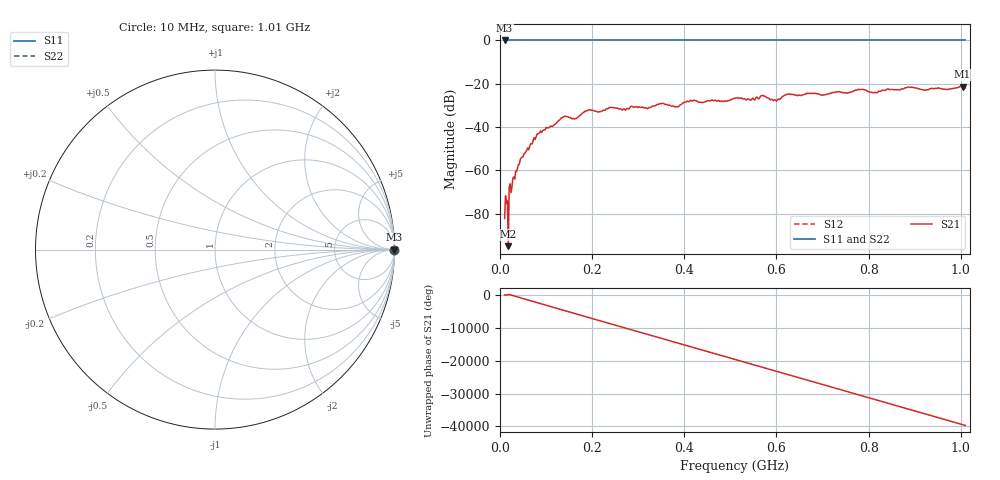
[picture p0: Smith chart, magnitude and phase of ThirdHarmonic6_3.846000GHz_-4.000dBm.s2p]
! 8/17/2025 1:24:24 PM
! C:\ANRITSUVNA\TEMP\TEMP.S2P
! CHANNEL.1
! TR.MEASUREMENT
! RAW.DATA
! RF.CORRECTION.OFF
! AVERAGING.OFF
! IF.BANDWIDTH: 5KHZ
! SWEEPTYPE:  FREQ.SWEEP(Linear)
! Reference Plane Port Info
! PORT:  PORT1  PORT2
! DISTANCE:  0  m  0  m
! TIME:  0  s  0  s
! PHASE.OFFSET:  0  deg.  0  deg.
! LOSS:  0  dB  0  dB
! REF.LOSS:  0  dB  0  dB
! REF.FREQ:  0  Hz  0  Hz
! Power Info
! POWER:  -20  dBm  -20  dBm
! EFF.POWER:  -20  dBm  -20  dBm
! SOURCE.ATTEN:  0  dB  0  dB
! TEST.ATTEN:  0  dB  0  dB
# GHZ S RI R 50.0
! FREQ.GHZ  S11RE  S11IM  S21RE  S21IM  S12RE  S12IM  S22RE  S22IM
!; PortSelection: Port_12
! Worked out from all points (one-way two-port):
!   501 points, 10 MHz to 1.01 GHz, reference 50 ohm
!   highest |S21| = -21.31 dB at 1.004 GHz (marker M1); lowest = -95.1 dB at 18 MHz (marker M2)
!   lowest |S11| = 0.0 dB at 10 MHz (marker M3)
!   |S11| at or under -10 dB: nowhere
!   |S22| runs from 0.0 to 0.0 dB; largest |S21 - S12| = 1.1
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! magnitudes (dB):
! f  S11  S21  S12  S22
! 10 MHz  0.0  -82.3  0.0  0.0
! 18 MHz  0.0  -95.1  0.0  0.0
! 22 MHz  0.0  -66.3  0.0  0.0
! 24 MHz  0.0  -70.4  0.0  0.0
! 44 MHz  0.0  -55.0  0.0  0.0
! 84 MHz  0.0  -43.0  0.0  0.0
! 136 MHz  0.0  -35.6  0.0  0.0
! 162 MHz  0.0  -36.3  0.0  0.0
! 178 MHz  0.0  -33.8  0.0  0.0
! 192 MHz  0.0  -32.2  0.0  0.0
! 322 MHz  0.0  -31.3  0.0  0.0
! 344 MHz  0.0  -29.6  0.0  0.0
! 384 MHz  0.0  -30.6  0.0  0.0
! 418 MHz  0.0  -28.0  0.0  0.0
! 510 MHz  0.0  -26.6  0.0  0.0
! 570 MHz  0.0  -25.4  0.0  0.0
! 598 MHz  0.0  -27.6  0.0  0.0
! 624 MHz  0.0  -24.7  0.0  0.0
! 678 MHz  0.0  -24.5  0.0  0.0
! 844 MHz  0.0  -22.6  0.0  0.0
! 1.004 GHz  0.0  -21.3  0.0  0.0
! 1.01 GHz  0.0  -22.0  0.0  0.0
